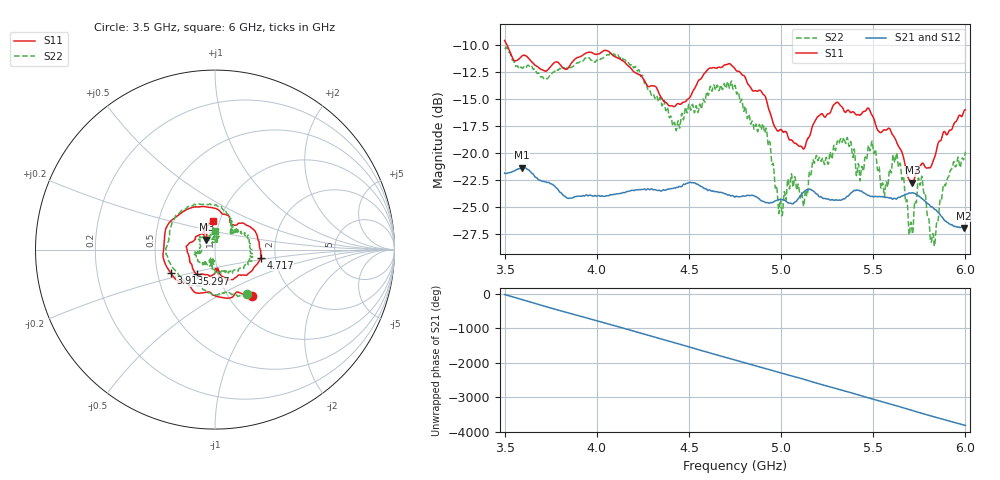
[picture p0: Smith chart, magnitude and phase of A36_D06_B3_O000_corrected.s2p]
! Created with skrf 1.9.0 (http://scikit-rf.org).
# Hz S RI R 50.0
!freq ReS11 ImS11 ReS21 ImS21 ReS12 ImS12 ReS22 ImS22
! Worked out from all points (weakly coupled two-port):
!   1601 points, 3.5 GHz to 6 GHz, reference 50 ohm
!   highest |S21| = -21.37 dB at 3.594 GHz (marker M1); lowest = -27.0 dB at 5.994 GHz (marker M2)
!   lowest |S11| = -22.8 dB at 5.713 GHz (marker M3), VSWR 1.16, Z = 45.2 + j5.01 ohm
!   |S11| at or under -10 dB: 3.513 GHz to end of sweep
!   |S22| runs from -28.6 to -10.2 dB; largest |S21 - S12| = 0.00093
!   S11 on the Smith chart (normalised r, x): 3.5 GHz: 1.29, -0.74; 3.913 GHz: 0.59, -0.17; 4.717 GHz: 1.67, -0.16; 5.297 GHz: 0.79, -0.22; 6 GHz: 0.93, +0.30
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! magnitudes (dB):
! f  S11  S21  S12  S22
! 3.5 GHz  -9.6  -21.9  -21.8  -10.3
! 3.594 GHz  -11.1  -21.4  -21.4  -12.1
! 3.913 GHz  -11.1  -24.0  -24.0  -11.5
! 3.917 GHz  -11.1  -24.0  -24.0  -11.5
! 4.125 GHz  -11.3  -23.8  -23.7  -11.3
! 4.334 GHz  -14.4  -23.5  -23.4  -15.3
! 4.439 GHz  -15.5  -23.2  -23.1  -17.1
! 4.717 GHz  -11.8  -23.9  -23.9  -13.9
! 4.75 GHz  -12.2  -24.1  -24.0  -13.8
! 4.912 GHz  -14.7  -24.6  -24.5  -18.1
! 4.997 GHz  -17.8  -24.3  -24.3  -24.3
! 5.13 GHz  -19.5  -23.5  -23.5  -23.8
! 5.167 GHz  -17.7  -23.5  -23.4  -21.4
! 5.297 GHz  -15.4  -24.4  -24.3  -19.6
! 5.584 GHz  -17.7  -24.2  -24.1  -22.1
! 5.636 GHz  -19.4  -24.1  -24.1  -21.2
! 5.713 GHz  -22.8  -23.7  -23.6  -27.5
! 5.756 GHz  -21.2  -24.1  -24.1  -23.0
! 5.825 GHz  -20.8  -25.1  -25.0  -27.5
! 5.889 GHz  -18.1  -26.3  -26.3  -23.1
! 5.994 GHz  -16.1  -27.0  -26.9  -20.5
! 6 GHz  -16.0  -27.0  -26.9  -19.9
